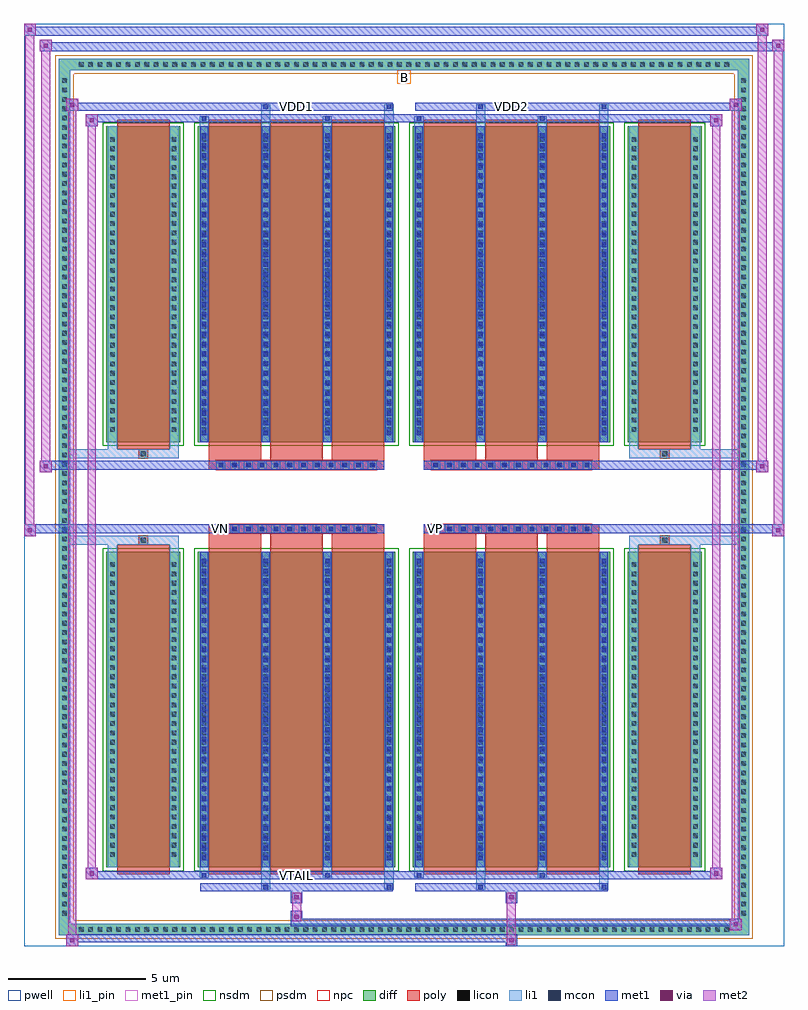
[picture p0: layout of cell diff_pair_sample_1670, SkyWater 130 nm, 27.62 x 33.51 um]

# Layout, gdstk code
import gdstk
lib = gdstk.Library(unit=1e-6, precision=5e-09)
def R(c, l, rs):  # rectangles x0, y0, x1, y1
    for r in rs: c.add(gdstk.rectangle(r[:2], r[2:], *l))
def A(c, l, x, y, w, h, nx, ny, dx, dy):  # array of equal rectangles
    R(c, l, [(x+i*dx, y+j*dy, x+i*dx+w, y+j*dy+h) for i in range(nx) for j in range(ny)])
def P(c, l, *ps):  # polygons
    for p in ps: c.add(gdstk.Polygon(p, *l))
pwell = (64, 44)
diff = (65, 20)
poly = (66, 20)
licon = (66, 44)
li1_pin = (67, 16)
li1 = (67, 20)
mcon = (67, 44)
met1_pin = (68, 16)
met1 = (68, 20)
via = (68, 44)
met2 = (69, 20)
nsdm = (93, 44)
psdm = (94, 20)
npc = (95, 20)

diff_pair_sample_1670 = lib.new_cell('diff_pair_sample_1670')
R(diff_pair_sample_1670, pwell, [(-13.81,-16.32,13.81,17.19), (-11.13,-14.51,-0.01,-0.795), (0.01,-14.51,11.13,-0.795), (-11.13,0.795,-0.01,14.51), (0.01,0.795,11.13,14.51)])
A(diff_pair_sample_1670, diff, -11.935, -15.92, 0.41, 0.41, 70, 2, 0.34, 31.43)
A(diff_pair_sample_1670, diff, -12.54, -15.335, 0.41, 0.41, 1, 90, 0, 0.34)
A(diff_pair_sample_1670, diff, 12.13, -15.335, 0.41, 0.41, 1, 90, 0, 0.34)
R(diff_pair_sample_1670, diff, [(-11.935,-15.92,11.935,-15.51), (-12.54,-15.335,-12.13,15.335), (12.13,-15.335,12.54,15.335), (-10.82,-13.465,-8.13,-1.985), (-7.49,-13.465,-0.32,-1.985), (0.32,-13.465,7.49,-1.985), (8.13,-13.465,10.82,-1.985), (-10.82,1.985,-8.13,13.465), (-7.49,1.985,-0.32,13.465), (0.32,1.985,7.49,13.465), (8.13,1.985,10.82,13.465), (-11.935,15.51,11.935,15.92)])
P(diff_pair_sample_1670, diff, [(12.54,15.92),(-12.54,15.92),(-12.54,-15.51),(-12.13,-15.51),(-12.13,15.51),(12.13,15.51),(12.13,-15.51),(-12.13,-15.51),(-12.54,-15.51),(-12.54,-15.92),(12.54,-15.92)])
A(diff_pair_sample_1670, poly, -7.1, -13.715, 1.91, 11.98, 3, 2, 2.24, 15.45)
A(diff_pair_sample_1670, poly, 0.71, -13.715, 1.91, 11.98, 3, 2, 2.24, 15.45)
A(diff_pair_sample_1670, poly, -7.1, -1.735, 1.91, 0.41, 3, 2, 2.24, 3.06)
A(diff_pair_sample_1670, poly, 0.71, -1.735, 1.91, 0.41, 3, 2, 2.24, 3.06)
A(diff_pair_sample_1670, poly, -6.82, -1.325, 0.33, 0.33, 12, 2, 0.5, 2.32)
A(diff_pair_sample_1670, poly, 0.99, -1.325, 0.33, 0.33, 12, 2, 0.5, 2.32)
R(diff_pair_sample_1670, poly, [(-10.43,-13.715,-8.52,-1.735), (8.52,-13.715,10.43,-1.735), (-9.64,-1.735,-9.31,-1.405), (-9.64,-1.735,-9.31,-1.405), (9.31,-1.735,9.64,-1.405), (9.31,-1.735,9.64,-1.405), (-7.1,-1.325,-0.71,-0.995), (0.71,-1.325,7.1,-0.995), (-7.1,0.995,-0.71,1.325), (0.71,0.995,7.1,1.325), (-9.64,1.405,-9.31,1.735), (-9.64,1.405,-9.31,1.735), (9.31,1.405,9.64,1.735), (9.31,1.405,9.64,1.735), (-10.43,1.735,-8.52,13.715), (8.52,1.735,10.43,13.715)])
A(diff_pair_sample_1670, licon, -11.815, -15.8, 0.17, 0.17, 70, 2, 0.34, 31.43)
A(diff_pair_sample_1670, licon, -12.42, -15.215, 0.17, 0.17, 1, 90, 0, 0.34)
A(diff_pair_sample_1670, licon, 12.25, -15.215, 0.17, 0.17, 1, 90, 0, 0.34)
A(diff_pair_sample_1670, licon, -10.68, -13.08, 0.17, 0.17, 1, 32, 0, 0.34)
A(diff_pair_sample_1670, licon, -8.44, -13.08, 0.17, 0.17, 1, 32, 0, 0.34)
A(diff_pair_sample_1670, licon, -7.35, -13.08, 0.17, 0.17, 4, 32, 2.24, 0.34)
A(diff_pair_sample_1670, licon, 0.46, -13.08, 0.17, 0.17, 4, 32, 2.24, 0.34)
A(diff_pair_sample_1670, licon, 8.27, -13.08, 0.17, 0.17, 1, 32, 0, 0.34)
A(diff_pair_sample_1670, licon, 10.51, -13.08, 0.17, 0.17, 1, 32, 0, 0.34)
A(diff_pair_sample_1670, licon, -6.74, -1.245, 0.17, 0.17, 12, 2, 0.5, 2.32)
A(diff_pair_sample_1670, licon, 1.07, -1.245, 0.17, 0.17, 12, 2, 0.5, 2.32)
A(diff_pair_sample_1670, licon, -10.68, 2.37, 0.17, 0.17, 1, 32, 0, 0.34)
A(diff_pair_sample_1670, licon, -8.44, 2.37, 0.17, 0.17, 1, 32, 0, 0.34)
A(diff_pair_sample_1670, licon, -7.35, 2.37, 0.17, 0.17, 4, 32, 2.24, 0.34)
A(diff_pair_sample_1670, licon, 0.46, 2.37, 0.17, 0.17, 4, 32, 2.24, 0.34)
A(diff_pair_sample_1670, licon, 8.27, 2.37, 0.17, 0.17, 1, 32, 0, 0.34)
A(diff_pair_sample_1670, licon, 10.51, 2.37, 0.17, 0.17, 1, 32, 0, 0.34)
R(diff_pair_sample_1670, licon, [(-9.56,-1.655,-9.39,-1.485), (9.39,-1.655,9.56,-1.485), (-9.56,1.485,-9.39,1.655), (9.39,1.485,9.56,1.655)])
R(diff_pair_sample_1670, li1_pin, [(-0.25,15.01,0.25,15.51)])
A(diff_pair_sample_1670, li1, -11.895, -15.88, 0.33, 0.33, 70, 2, 0.34, 31.43)
A(diff_pair_sample_1670, li1, -12.5, -15.295, 0.33, 0.33, 1, 90, 0, 0.34)
A(diff_pair_sample_1670, li1, 12.17, -15.295, 0.33, 0.33, 1, 90, 0, 0.34)
A(diff_pair_sample_1670, li1, -7.43, -13.465, 0.33, 11.48, 4, 2, 2.24, 15.45)
A(diff_pair_sample_1670, li1, 0.38, -13.465, 0.33, 11.48, 4, 2, 2.24, 15.45)
A(diff_pair_sample_1670, li1, -7.35, -13.21, 0.17, 0.17, 4, 31, 2.24, 0.36)
A(diff_pair_sample_1670, li1, -7.35, -13.21, 0.17, 10.97, 4, 2, 2.24, 15.45)
A(diff_pair_sample_1670, li1, 0.46, -13.21, 0.17, 0.17, 4, 31, 2.24, 0.36)
A(diff_pair_sample_1670, li1, 0.46, -13.21, 0.17, 10.97, 4, 2, 2.24, 15.45)
A(diff_pair_sample_1670, li1, -10.76, -13.16, 0.33, 0.33, 1, 32, 0, 0.34)
A(diff_pair_sample_1670, li1, -8.52, -13.16, 0.33, 0.33, 1, 32, 0, 0.34)
A(diff_pair_sample_1670, li1, -7.43, -13.16, 0.33, 0.33, 4, 32, 2.24, 0.34)
A(diff_pair_sample_1670, li1, 0.38, -13.16, 0.33, 0.33, 4, 32, 2.24, 0.34)
A(diff_pair_sample_1670, li1, 8.19, -13.16, 0.33, 0.33, 1, 32, 0, 0.34)
A(diff_pair_sample_1670, li1, 10.43, -13.16, 0.33, 0.33, 1, 32, 0, 0.34)
A(diff_pair_sample_1670, li1, -6.82, -1.325, 0.33, 0.33, 12, 2, 0.5, 2.32)
A(diff_pair_sample_1670, li1, 0.99, -1.325, 0.33, 0.33, 12, 2, 0.5, 2.32)
A(diff_pair_sample_1670, li1, -7.35, 2.24, 0.17, 0.17, 4, 31, 2.24, 0.36)
A(diff_pair_sample_1670, li1, 0.46, 2.24, 0.17, 0.17, 4, 31, 2.24, 0.36)
A(diff_pair_sample_1670, li1, -10.76, 2.29, 0.33, 0.33, 1, 32, 0, 0.34)
A(diff_pair_sample_1670, li1, -8.52, 2.29, 0.33, 0.33, 1, 32, 0, 0.34)
A(diff_pair_sample_1670, li1, -7.43, 2.29, 0.33, 0.33, 4, 32, 2.24, 0.34)
A(diff_pair_sample_1670, li1, 0.38, 2.29, 0.33, 0.33, 4, 32, 2.24, 0.34)
A(diff_pair_sample_1670, li1, 8.19, 2.29, 0.33, 0.33, 1, 32, 0, 0.34)
A(diff_pair_sample_1670, li1, 10.43, 2.29, 0.33, 0.33, 1, 32, 0, 0.34)
R(diff_pair_sample_1670, li1, [(-12.54,-15.92,-12.13,-15.51), (-12.54,-15.92,-12.13,-15.51), (-12.13,-15.92,12.13,-15.51), (12.13,-15.92,12.54,-15.51), (12.13,-15.92,12.54,-15.51), (-12.54,-15.51,-12.13,15.51), (12.13,-15.51,12.54,15.51), (-5.19,-14.27,-4.86,-13.465), (-5.11,-14.27,-4.94,-14.1), (-0.71,-14.27,-0.38,-13.465), (-0.63,-14.27,-0.46,-14.1), (2.62,-14.27,2.95,-13.465), (2.7,-14.27,2.87,-14.1), (7.1,-14.27,7.43,-13.465), (7.18,-14.27,7.35,-14.1), (-7.43,-13.84,-7.1,-13.465), (-7.35,-13.84,-7.18,-13.67), (-2.95,-13.84,-2.62,-13.465), (-2.87,-13.84,-2.7,-13.67), (0.38,-13.84,0.71,-13.465), (0.46,-13.84,0.63,-13.67), (4.86,-13.84,5.19,-13.465), (4.94,-13.84,5.11,-13.67), (-10.76,-13.465,-10.43,-1.985), (-8.52,-13.465,-8.19,-1.985), (8.19,-13.465,8.52,-1.985), (10.43,-13.465,10.76,-1.985), (-10.76,-1.985,-10.43,-1.405), (-8.52,-1.985,-8.19,-1.405), (8.19,-1.985,8.52,-1.405), (10.43,-1.985,10.76,-1.405), (-12.54,-1.735,-9.64,-1.405), (-10.76,-1.735,-9.64,-1.405), (-9.64,-1.735,-9.31,-1.405), (-9.31,-1.735,-8.19,-1.405), (8.19,-1.735,9.31,-1.405), (9.31,-1.735,9.64,-1.405), (9.31,-1.735,12.54,-1.405), (9.64,-1.735,10.76,-1.405), (-12.54,1.405,-9.64,1.735), (-10.76,1.405,-9.64,1.735), (-10.76,1.405,-10.43,1.985), (-9.64,1.405,-9.31,1.735), (-9.31,1.405,-8.19,1.735), (-8.52,1.405,-8.19,1.985), (8.19,1.405,9.31,1.735), (8.19,1.405,8.52,1.985), (9.31,1.405,9.64,1.735), (9.31,1.405,12.54,1.735), (9.64,1.405,10.76,1.735), (10.43,1.405,10.76,1.985), (-10.76,1.985,-10.43,13.465), (-8.52,1.985,-8.19,13.465), (8.19,1.985,8.52,13.465), (10.43,1.985,10.76,13.465), (-7.43,13.465,-7.1,13.84), (-5.19,13.465,-4.86,14.27), (-2.95,13.465,-2.62,13.84), (-0.71,13.465,-0.38,14.27), (0.38,13.465,0.71,13.84), (2.62,13.465,2.95,14.27), (4.86,13.465,5.19,13.84), (7.1,13.465,7.43,14.27), (-7.35,13.67,-7.18,13.84), (-2.87,13.67,-2.7,13.84), (0.46,13.67,0.63,13.84), (4.94,13.67,5.11,13.84), (-5.11,14.1,-4.94,14.27), (-0.63,14.1,-0.46,14.27), (2.7,14.1,2.87,14.27), (7.18,14.1,7.35,14.27), (-12.54,15.51,-12.13,15.92), (-12.54,15.51,-12.13,15.92), (-12.13,15.51,12.13,15.92), (12.13,15.51,12.54,15.92), (12.13,15.51,12.54,15.92)])
A(diff_pair_sample_1670, mcon, -7.35, -13.21, 0.17, 0.17, 4, 31, 2.24, 0.36)
A(diff_pair_sample_1670, mcon, 0.46, -13.21, 0.17, 0.17, 4, 31, 2.24, 0.36)
A(diff_pair_sample_1670, mcon, -6.74, -1.245, 0.17, 0.17, 12, 2, 0.5, 2.32)
A(diff_pair_sample_1670, mcon, 1.07, -1.245, 0.17, 0.17, 12, 2, 0.5, 2.32)
A(diff_pair_sample_1670, mcon, -7.35, 2.24, 0.17, 0.17, 4, 31, 2.24, 0.36)
A(diff_pair_sample_1670, mcon, 0.46, 2.24, 0.17, 0.17, 4, 31, 2.24, 0.36)
R(diff_pair_sample_1670, mcon, [(-5.11,-14.27,-4.94,-14.1), (-0.63,-14.27,-0.46,-14.1), (2.7,-14.27,2.87,-14.1), (7.18,-14.27,7.35,-14.1), (-7.35,-13.84,-7.18,-13.67), (-2.87,-13.84,-2.7,-13.67), (0.46,-13.84,0.63,-13.67), (4.94,-13.84,5.11,-13.67), (-7.35,13.67,-7.18,13.84), (-2.87,13.67,-2.7,13.84), (0.46,13.67,0.63,13.84), (4.94,13.67,5.11,13.84), (-5.11,14.1,-4.94,14.27), (-0.63,14.1,-0.46,14.27), (2.7,14.1,2.87,14.27), (7.18,14.1,7.35,14.27)])
R(diff_pair_sample_1670, met1_pin, [(-4.04,-13.88,-3.77,-13.61), (-6.79,-1.285,-6.52,-1.015), (1.02,-1.285,1.29,-1.015), (-4.04,14.06,-3.77,14.33), (3.77,14.06,4.04,14.33)])
A(diff_pair_sample_1670, met1, -7.41, -13.465, 0.29, 11.48, 4, 2, 2.24, 15.45)
A(diff_pair_sample_1670, met1, 0.4, -13.465, 0.29, 11.48, 4, 2, 2.24, 15.45)
A(diff_pair_sample_1670, met1, -7.41, -13.27, 0.29, 0.29, 4, 31, 2.24, 0.36)
A(diff_pair_sample_1670, met1, 0.4, -13.27, 0.29, 0.29, 4, 31, 2.24, 0.36)
A(diff_pair_sample_1670, met1, -6.8, -1.305, 0.29, 0.29, 12, 2, 0.5, 2.32)
A(diff_pair_sample_1670, met1, 1.01, -1.305, 0.29, 0.29, 12, 2, 0.5, 2.32)
A(diff_pair_sample_1670, met1, -7.41, 2.18, 0.29, 0.29, 4, 31, 2.24, 0.36)
A(diff_pair_sample_1670, met1, 0.4, 2.18, 0.29, 0.29, 4, 31, 2.24, 0.36)
R(diff_pair_sample_1670, met1, [(-12.27,-16.32,-11.84,-15.89), (3.69,-16.32,4.12,-15.89), (-12.27,-16.18,4.12,-15.89), (11.84,-15.75,12.27,-15.32), (-4.12,-15.61,12.27,-15.32), (-4.12,-15.47,-3.69,-15.04), (-4.12,-14.76,-3.69,-14.33), (3.69,-14.76,4.12,-14.33), (-7.41,-14.33,-0.4,-14.04), (-5.17,-14.33,-4.88,-14.04), (-0.69,-14.33,-0.4,-14.04), (0.4,-14.33,7.41,-14.04), (2.64,-14.33,2.93,-14.04), (7.12,-14.33,7.41,-14.04), (-11.56,-13.9,-11.13,-13.47), (-11.56,-13.9,-7.41,-13.61), (-7.41,-13.9,-7.12,-13.61), (-7.41,-13.9,-0.4,-13.61), (-2.93,-13.9,-2.64,-13.61), (-0.4,-13.9,0.4,-13.61), (0.4,-13.9,0.69,-13.61), (0.4,-13.9,7.41,-13.61), (4.88,-13.9,5.17,-13.61), (7.41,-13.9,11.56,-13.61), (11.13,-13.9,11.56,-13.47), (-13.81,-1.425,-13.38,-0.995), (13.38,-1.425,13.81,-0.995), (-13.81,-1.325,-0.71,-0.995), (-7.1,-1.325,-0.71,-0.995), (0.71,-1.325,7.1,-0.995), (0.71,-1.325,13.81,-0.995), (-13.24,0.895,-12.81,1.325), (12.81,0.895,13.24,1.325), (-13.24,0.995,-7.1,1.325), (-7.1,0.995,-0.71,1.325), (0.71,0.995,7.1,1.325), (7.1,0.995,13.24,1.325), (-11.56,13.47,-11.13,13.9), (11.13,13.47,11.56,13.9), (-11.56,13.61,-7.41,13.9), (-7.41,13.61,-7.12,13.9), (-7.41,13.61,-0.4,13.9), (-2.93,13.61,-2.64,13.9), (-0.4,13.61,0.4,13.9), (0.4,13.61,0.69,13.9), (0.4,13.61,7.41,13.9), (4.88,13.61,5.17,13.9), (7.41,13.61,11.56,13.9), (-12.27,14.04,-11.84,14.47), (-12.27,14.04,-7.41,14.33), (-7.41,14.04,-0.4,14.33), (-5.17,14.04,-4.88,14.33), (-0.69,14.04,-0.4,14.33), (0.4,14.04,7.41,14.33), (2.64,14.04,2.93,14.33), (7.12,14.04,7.41,14.33), (7.41,14.04,12.27,14.33), (11.84,14.04,12.27,14.47), (-13.24,16.19,-12.81,16.62), (-13.24,16.19,-11.13,16.52), (-11.13,16.19,11.13,16.52), (11.13,16.19,13.81,16.52), (13.38,16.19,13.81,16.62), (-13.81,16.76,-13.38,17.19), (-13.81,16.76,-11.13,17.09), (-11.13,16.76,11.13,17.09), (11.13,16.76,13.24,17.09), (12.81,16.76,13.24,17.19)])
R(diff_pair_sample_1670, via, [(-12.13,-16.18,-11.98,-16.03), (3.83,-16.18,3.98,-16.03), (11.98,-15.61,12.13,-15.46), (-3.98,-15.33,-3.83,-15.18), (-3.98,-14.62,-3.83,-14.47), (3.83,-14.62,3.98,-14.47), (-11.42,-13.76,-11.27,-13.61), (11.27,-13.76,11.42,-13.61), (-13.67,-1.285,-13.52,-1.135), (13.52,-1.285,13.67,-1.135), (-13.1,1.035,-12.95,1.185), (12.95,1.035,13.1,1.185), (-11.42,13.61,-11.27,13.76), (11.27,13.61,11.42,13.76), (-12.13,14.18,-11.98,14.33), (11.98,14.18,12.13,14.33), (-13.1,16.33,-12.95,16.48), (13.52,16.33,13.67,16.48), (-13.67,16.9,-13.52,17.05), (12.95,16.9,13.1,17.05)])
R(diff_pair_sample_1670, met2, [(-12.27,-16.32,-11.84,-15.89), (-12.2,-16.32,-11.91,14.47), (-11.91,-16.32,-11.84,-15.89), (-12.22,-16.27,-11.89,-15.94), (3.74,-16.27,4.07,-15.94), (3.74,-15.94,4.07,-14.71), (11.84,-15.75,12.27,-15.32), (11.91,-15.75,12.2,14.47), (12.2,-15.75,12.27,-15.32), (11.89,-15.7,12.22,-15.37), (-4.07,-15.42,-3.74,-15.09), (-4.07,-15.09,-3.74,-14.71), (-4.07,-14.71,-3.74,-14.38), (3.74,-14.71,4.07,-14.38), (-11.56,-13.9,-11.13,-13.47), (-11.49,-13.9,-11.2,13.9), (-11.2,-13.9,-11.13,-13.47), (11.13,-13.9,11.56,-13.47), (11.2,-13.9,11.49,13.9), (11.49,-13.9,11.56,-13.47), (-11.51,-13.85,-11.18,-13.52), (11.18,-13.85,11.51,-13.52), (-13.81,-1.425,-13.38,-0.995), (-13.76,-1.425,-13.43,17.19), (-13.43,-1.425,-13.38,-0.995), (13.38,-1.425,13.81,-0.995), (13.43,-1.425,13.76,16.62), (13.76,-1.425,13.81,-0.995), (-13.76,-1.375,-13.43,-1.045), (13.43,-1.375,13.76,-1.045), (-13.24,0.895,-12.81,1.325), (-13.19,0.895,-12.86,16.62), (-12.86,0.895,-12.81,1.325), (12.81,0.895,13.24,1.325), (12.86,0.895,13.19,17.19), (13.19,0.895,13.24,1.325), (-13.19,0.945,-12.86,1.275), (12.86,0.945,13.19,1.275), (-11.56,13.47,-11.13,13.9), (-11.2,13.47,-11.13,13.9), (11.13,13.47,11.56,13.9), (11.49,13.47,11.56,13.9), (-11.51,13.52,-11.18,13.85), (11.18,13.52,11.51,13.85), (-12.27,14.04,-11.84,14.47), (-11.91,14.04,-11.84,14.47), (11.84,14.04,12.27,14.47), (12.2,14.04,12.27,14.47), (-12.22,14.09,-11.89,14.42), (11.89,14.09,12.22,14.42), (-13.24,16.19,-12.81,16.62), (-12.86,16.19,-12.81,16.62), (13.38,16.19,13.81,16.62), (13.76,16.19,13.81,16.62), (-13.19,16.24,-12.86,16.57), (13.43,16.24,13.76,16.57), (-13.81,16.76,-13.38,17.19), (-13.43,16.76,-13.38,17.19), (12.81,16.76,13.24,17.19), (13.19,16.76,13.24,17.19), (-13.76,16.81,-13.43,17.14), (12.86,16.81,13.19,17.14)])
R(diff_pair_sample_1670, nsdm, [(-10.95,-13.595,-8,-1.855), (-7.62,-13.595,-0.19,-1.855), (0.19,-13.595,7.62,-1.855), (8,-13.595,10.95,-1.855), (-10.95,1.855,-8,13.595), (-7.62,1.855,-0.19,13.595), (0.19,1.855,7.62,13.595), (8,1.855,10.95,13.595)])
P(diff_pair_sample_1670, psdm, [(12.67,16.05),(-12.67,16.05),(-12.67,-15.38),(-12,-15.38),(-12,15.38),(12,15.38),(12,-15.38),(-12,-15.38),(-12.67,-15.38),(-12.67,-16.05),(12.67,-16.05)])
A(diff_pair_sample_1670, npc, -6.84, -1.345, 0.37, 0.37, 12, 2, 0.5, 2.32)
A(diff_pair_sample_1670, npc, 0.97, -1.345, 0.37, 0.37, 12, 2, 0.5, 2.32)
R(diff_pair_sample_1670, npc, [(-9.66,-1.755,-9.29,-1.385), (9.29,-1.755,9.66,-1.385), (-6.84,-1.345,-5.97,-0.975), (-6.84,-1.345,-5.97,-0.975), (-6.34,-1.345,-5.47,-0.975), (-6.34,-1.345,-5.47,-0.975), (-5.84,-1.345,-4.97,-0.975), (-5.84,-1.345,-4.97,-0.975), (-5.34,-1.345,-4.47,-0.975), (-5.34,-1.345,-4.47,-0.975), (-4.84,-1.345,-3.97,-0.975), (-4.84,-1.345,-3.97,-0.975), (-4.34,-1.345,-3.47,-0.975), (-4.34,-1.345,-3.47,-0.975), (-3.84,-1.345,-2.97,-0.975), (-3.84,-1.345,-2.97,-0.975), (-3.34,-1.345,-2.47,-0.975), (-3.34,-1.345,-2.47,-0.975), (-2.84,-1.345,-1.97,-0.975), (-2.84,-1.345,-1.97,-0.975), (-2.34,-1.345,-1.47,-0.975), (-2.34,-1.345,-1.47,-0.975), (-1.84,-1.345,-0.97,-0.975), (-1.84,-1.345,-0.97,-0.975), (0.97,-1.345,1.84,-0.975), (0.97,-1.345,1.84,-0.975), (1.47,-1.345,2.34,-0.975), (1.47,-1.345,2.34,-0.975), (1.97,-1.345,2.84,-0.975), (1.97,-1.345,2.84,-0.975), (2.47,-1.345,3.34,-0.975), (2.47,-1.345,3.34,-0.975), (2.97,-1.345,3.84,-0.975), (2.97,-1.345,3.84,-0.975), (3.47,-1.345,4.34,-0.975), (3.47,-1.345,4.34,-0.975), (3.97,-1.345,4.84,-0.975), (3.97,-1.345,4.84,-0.975), (4.47,-1.345,5.34,-0.975), (4.47,-1.345,5.34,-0.975), (4.97,-1.345,5.84,-0.975), (4.97,-1.345,5.84,-0.975), (5.47,-1.345,6.34,-0.975), (5.47,-1.345,6.34,-0.975), (5.97,-1.345,6.84,-0.975), (5.97,-1.345,6.84,-0.975), (-6.84,0.975,-5.97,1.345), (-6.84,0.975,-5.97,1.345), (-6.34,0.975,-5.47,1.345), (-6.34,0.975,-5.47,1.345), (-5.84,0.975,-4.97,1.345), (-5.84,0.975,-4.97,1.345), (-5.34,0.975,-4.47,1.345), (-5.34,0.975,-4.47,1.345), (-4.84,0.975,-3.97,1.345), (-4.84,0.975,-3.97,1.345), (-4.34,0.975,-3.47,1.345), (-4.34,0.975,-3.47,1.345), (-3.84,0.975,-2.97,1.345), (-3.84,0.975,-2.97,1.345), (-3.34,0.975,-2.47,1.345), (-3.34,0.975,-2.47,1.345), (-2.84,0.975,-1.97,1.345), (-2.84,0.975,-1.97,1.345), (-2.34,0.975,-1.47,1.345), (-2.34,0.975,-1.47,1.345), (-1.84,0.975,-0.97,1.345), (-1.84,0.975,-0.97,1.345), (0.97,0.975,1.84,1.345), (0.97,0.975,1.84,1.345), (1.47,0.975,2.34,1.345), (1.47,0.975,2.34,1.345), (1.97,0.975,2.84,1.345), (1.97,0.975,2.84,1.345), (2.47,0.975,3.34,1.345), (2.47,0.975,3.34,1.345), (2.97,0.975,3.84,1.345), (2.97,0.975,3.84,1.345), (3.47,0.975,4.34,1.345), (3.47,0.975,4.34,1.345), (3.97,0.975,4.84,1.345), (3.97,0.975,4.84,1.345), (4.47,0.975,5.34,1.345), (4.47,0.975,5.34,1.345), (4.97,0.975,5.84,1.345), (4.97,0.975,5.84,1.345), (5.47,0.975,6.34,1.345), (5.47,0.975,6.34,1.345), (5.97,0.975,6.84,1.345), (5.97,0.975,6.84,1.345), (-9.66,1.385,-9.29,1.755), (9.29,1.385,9.66,1.755)])
diff_pair_sample_1670.add(gdstk.Label('VTAIL', (-3.905,-13.745), layer=68, texttype=5))
diff_pair_sample_1670.add(gdstk.Label('VN', (-6.655,-1.15), layer=68, texttype=5))
diff_pair_sample_1670.add(gdstk.Label('VP', (1.155,-1.15), layer=68, texttype=5))
diff_pair_sample_1670.add(gdstk.Label('B', (0,15.26), layer=67, texttype=5))
diff_pair_sample_1670.add(gdstk.Label('VDD2', (3.905,14.195), layer=68, texttype=5))
diff_pair_sample_1670.add(gdstk.Label('VDD1', (-3.905,14.195), layer=68, texttype=5))

lib.write_gds('diff_pair_sample_1670.gds')
